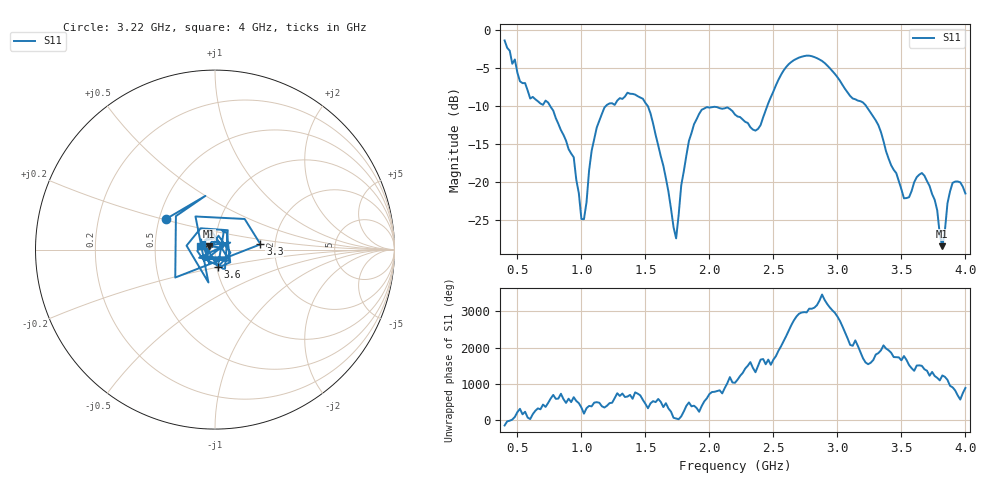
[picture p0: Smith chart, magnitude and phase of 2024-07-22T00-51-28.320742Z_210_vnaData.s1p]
!Created with skrf (http://scikit-rf.org).
# Hz S RI R 50.0
!freq ReS11 ImS11
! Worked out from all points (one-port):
!   181 points, 400 MHz to 4 GHz, reference 50 ohm
!   lowest |S11| = -28.4 dB at 3.82 GHz (marker M1), VSWR 1.08, Z = 46.7 + j1.7 ohm
!   |S11| at or under -10 dB: 757.2 MHz to 1.189 GHz (432.1 MHz wide, 44.4 % of centre); 1.52 GHz to 2.451 GHz (931.1 MHz wide, 46.9 % of centre); 3.226 GHz to end of sweep
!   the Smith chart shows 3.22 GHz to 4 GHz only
!   S11 on the Smith chart (normalised r, x): 3.22 GHz: 0.54, +0.21; 3.3 GHz: 1.67, +0.11; 3.6 GHz: 1.01, -0.20; 4 GHz: 0.85, +0.03
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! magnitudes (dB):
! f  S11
! 400 MHz  -1.3
! 600 MHz  -9.0
! 740 MHz  -9.5
! 860 MHz  -13.8
! 940 MHz  -16.7
! 1 GHz  -24.8
! 1.02 GHz  -24.9
! 1.08 GHz  -15.9
! 1.12 GHz  -12.8
! 1.3 GHz  -8.9
! 1.52 GHz  -10.0
! 1.74 GHz  -27.4
! 1.76 GHz  -24.3
! 1.84 GHz  -14.6
! 1.92 GHz  -11.0
! 2.2 GHz  -11.1
! 2.38 GHz  -13.0
! 2.66 GHz  -3.9
! 2.88 GHz  -4.0
! 3.1 GHz  -8.7
! 3.22 GHz  -9.9
! 3.3 GHz  -11.9
! 3.56 GHz  -22.0
! 3.6 GHz  -20.0
! 3.72 GHz  -20.5
! 3.82 GHz  -28.4
! 3.9 GHz  -20.1
! 4 GHz  -21.5
